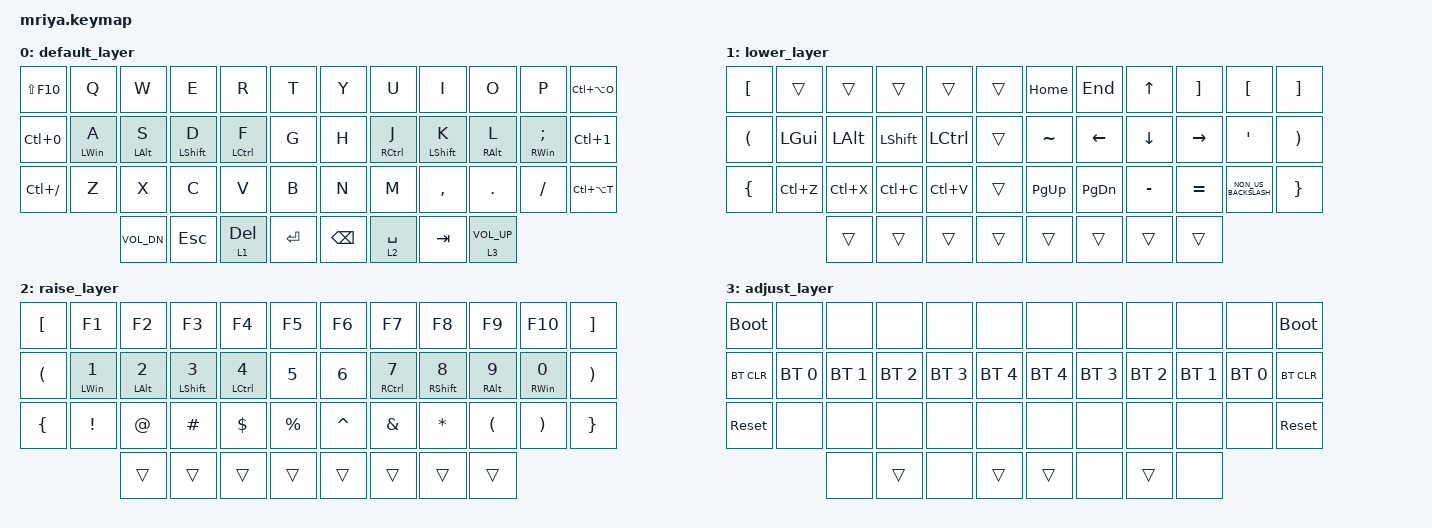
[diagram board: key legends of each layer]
/*
 * Copyright (c) 2023 Andrei Gaevskii
 *
 * SPDX-License-Identifier: MIT
 */

#include <behaviors.dtsi>
#include <dt-bindings/zmk/bt.h>
#include <dt-bindings/zmk/keys.h>

#define DEF 0
#define LWR 1
#define RSE 2
#define ADJ 3

&lt { quick_tap_ms = <200>; };

&mt { quick_tap_ms = <200>; };

/ {
    combos {
        compatible = "zmk,combos";

        clcl {
            bindings = <&kp LC(Q)>;
            key-positions = <4 3>;
        };

        lightshot {
            bindings = <&kp LC(PRINTSCREEN)>;
            key-positions = <4 5>;
        };

        ctrl_f {
            bindings = <&kp LC(F)>;
            key-positions = <27 28>;
        };

        ctrl_shift_f {
            bindings = <&kp LC(LS(F))>;
            key-positions = <28 29>;
        };
    };

    behaviors {
        bhm: balanced_homerow_mods {
            compatible = "zmk,behavior-hold-tap";
            label = "BALANCED_HOMEROW_MODS";
            #binding-cells = <2>;
            tapping-term-ms = <200>;    // <---[[moderate duration]]
            quick-tap-ms = <0>;
            flavor = "balanced";
            bindings = <&kp>, <&kp>;
        };

        lh_pht: left_hand_positional_hold_tap {
            compatible = "zmk,behavior-hold-tap";
            label = "LEFT_POSITIONAL_HOLD_TAP";
            #binding-cells = <2>;
            flavor = "tap-unless-interrupted";
            tapping-term-ms = <100>;                        // <---[[produces tap if held longer than tapping-term-ms]]
            quick-tap-ms = <200>;
            bindings = <&kp>, <&kp>;

            hold-trigger-key-positions = <5 6 7 8 9 10>;    // <---[[right-hand keys]]
        };

        hm: homerow_mods {
            compatible = "zmk,behavior-hold-tap";
            label = "HOMEROW_MODS";
            #binding-cells = <2>;
            tapping-term-ms = <150>;
            quick-tap-ms = <0>;
            flavor = "tap-preferred";
            bindings = <&kp>, <&kp>;
        };
    };

    keymap {
        compatible = "zmk,keymap";

        default_layer {
            bindings = <
  &kp LS(F10)    &kp Q           &kp W           &kp E             &kp R               &kp T        &kp Y          &kp U                &kp I             &kp O              &kp P                    &kp LC(LA(O))
  &kp LC(N0)     &hm LEFT_WIN A  &hm LEFT_ALT S  &hm LEFT_SHIFT D  &hm LEFT_CONTROL F  &kp G        &kp H          &hm RIGHT_CONTROL J  &hm LEFT_SHIFT K  &hm RIGHT_ALT L    &hm RIGHT_WIN SEMICOLON  &kp LC(NUMBER_1)
  &kp LC(SLASH)  &kp Z           &kp X           &kp C             &kp V               &kp B        &kp N          &kp M                &kp COMMA         &kp DOT            &kp FSLH                 &kp LC(LA(T))
                                 &kp C_VOL_DN    &kp ESCAPE        &lt 1 DEL           &kp ENTER    &kp BACKSPACE  &lt 2 SPACE          &kp TAB           &lt 3 C_VOLUME_UP
            >;
        };

        lower_layer {
            bindings = <
  &kp LBKT              &trans        &trans        &trans          &trans            &trans    &kp HOME   &kp END        &kp UP_ARROW  &kp RIGHT_BRACKET  &kp LEFT_BRACKET      &kp RBKT
  &kp LEFT_PARENTHESIS  &kp LEFT_GUI  &kp LEFT_ALT  &kp LEFT_SHIFT  &kp LEFT_CONTROL  &trans    &kp TILDE  &kp LEFT       &kp DOWN      &kp RIGHT          &kp SINGLE_QUOTE      &kp RIGHT_PARENTHESIS
  &kp LBRC              &kp LC(Z)     &kp LC(X)     &kp LC(C)       &kp LC(V)         &trans    &kp PG_UP  &kp PAGE_DOWN  &kp MINUS     &kp EQUAL          &kp NON_US_BACKSLASH  &kp RBRC
                                      &trans        &trans          &trans            &trans    &trans     &trans         &trans        &trans
            >;
        };

        raise_layer {
            bindings = <
  &kp LBKT              &kp F1                 &kp F2                 &kp F3                   &kp F4              &kp F5       &kp F6     &kp F7        &kp F8              &kp F9            &kp F10           &kp RBKT
  &kp LEFT_PARENTHESIS  &mt LEFT_WIN NUMBER_1  &mt LEFT_ALT NUMBER_2  &mt LEFT_SHIFT NUMBER_3  &mt LCTRL NUMBER_4  &kp N5       &kp N6     &mt RCTRL N7  &mt RIGHT_SHIFT N8  &mt RIGHT_ALT N9  &mt RIGHT_WIN N0  &kp RIGHT_PARENTHESIS
  &kp LBRC              &kp EXCL               &kp AT                 &kp HASH                 &kp DLLR            &kp PRCNT    &kp CARET  &kp AMPS      &kp STAR            &kp LPAR          &kp RPAR          &kp RBRC
                                               &trans                 &trans                   &trans              &trans       &trans     &trans        &trans              &trans
            >;
        };

        adjust_layer {
            bindings = <
  &bootloader  &none         &none         &none         &none         &none           &none         &none         &none         &none         &none         &bootloader
  &bt BT_CLR   &bt BT_SEL 0  &bt BT_SEL 1  &bt BT_SEL 2  &bt BT_SEL 3  &bt BT_SEL 4    &bt BT_SEL 4  &bt BT_SEL 3  &bt BT_SEL 2  &bt BT_SEL 1  &bt BT_SEL 0  &bt BT_CLR
  &sys_reset   &none         &none         &none         &none         &none           &none         &none         &none         &none         &none         &sys_reset
                             &none         &trans        &none         &trans          &trans        &none         &trans        &none
            >;
        };
    };
};
